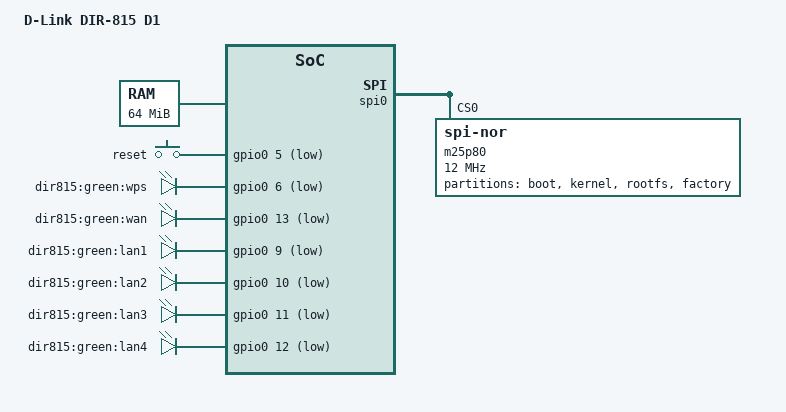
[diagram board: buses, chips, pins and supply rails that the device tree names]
// SPDX-License-Identifier: GPL-2.0
/dts-v1/;

#include "RTL819X.dtsi"

#include <dt-bindings/gpio/gpio.h>
#include <dt-bindings/input/input.h>

/ {
	compatible = "D-Link,dir-815-d1", "realtek,rtl819x-soc";
	model = "D-Link DIR-815 D1";

	cpus {
		cpu@0 {
			compatible = "realtek,rlx5281";
		};
	};

	memory {
		device_type = "memory";
		reg = <0x0 0x4000000>;
	};

	chosen {
		bootargs = "console=ttyS0,115200";
	};

	gpio-keys-polled {
		compatible = "gpio-keys-polled";
		#address-cells = <1>;
		#size-cells = <0>;
		poll-interval = <20>;

		reset {
			label = "reset";
			gpios = <&gpio0 5 GPIO_ACTIVE_LOW>;
			linux,code = <KEY_RESTART>;
		};
	};

	gpio-leds {
		compatible = "gpio-leds";

		wps {
			label = "dir815:green:wps";
			gpios = <&gpio0 6 GPIO_ACTIVE_LOW>;
		};

		wan {
			label = "dir815:green:wan";
			gpios = <&gpio0 13 GPIO_ACTIVE_LOW>;
		};

		lan1 {
			label = "dir815:green:lan1";
			gpios = <&gpio0 9 GPIO_ACTIVE_LOW>;
		};

		lan2 {
			label = "dir815:green:lan2";
			gpios = <&gpio0 10 GPIO_ACTIVE_LOW>;
		};

		lan3 {
			label = "dir815:green:lan3";
			gpios = <&gpio0 11 GPIO_ACTIVE_LOW>;
		};

		lan4 {
			label = "dir815:green:lan4";
			gpios = <&gpio0 12 GPIO_ACTIVE_LOW>;
		};
	};
};

&gpio0 {
	status = "okay";
};

&spi0 {
	status = "okay";

	m25p80@0 {
		#address-cells = <1>;
		#size-cells = <1>;
		compatible = "jedec,spi-nor";
		reg = <0>;
		spi-max-frequency = <12000000>;

		partition@0 {
			label = "boot";
			reg = <0x0 0x30000>;
			read-only;
		};
		kernel: partition@30000 {
			label = "kernel";
			reg = <0x30000 0x1D0000>;
		};
		partition@200000 {
			label = "rootfs";
			reg = <0x200000 0x5E0000>;
		};
		factory: partition@7E0000 {
			label = "factory";
			reg = <0x7E0000 0x20000>;
			read-only;
		};
		firmware@30000 {
			label = "firmware";
			reg = <0x30000 0x7B0000>;
		};
	};
};
